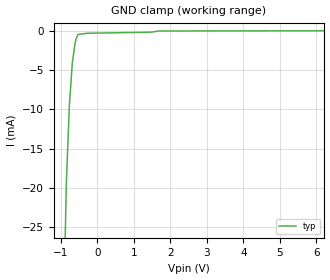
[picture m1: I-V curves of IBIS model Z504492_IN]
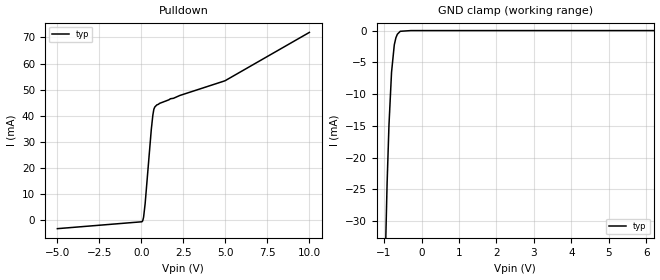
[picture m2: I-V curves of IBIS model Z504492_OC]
| YOU ARE ONLY AUTHORIZED TO USE THIS SOFTWARE
| ACCORDING TO LICENSOR'S LICENSE RESTRICTIONS.
[IBIS Ver] 3.1
[File Name] sn74ls05d.ibs
[File Rev] 2.0
[Source] Measured and created by ICX Technology
[Date] Friday 7/14/00 9:08:16 AM
[Copyright]
| (C) COPYRIGHT 1993-2000
| MENTOR GRAPHICS CORPORATION
| ICX STANDARD LIBRARY, ICX PROJECT MODELING,
| ICX CUSTOM MODELING, ICX VENDOR MODEL
| ALL RIGHTS RESERVED.
| THE FOLLOWING ARE TRADEMARKS OR SERVICE MARKS OF
| MENTOR GRAPHICS CORPORATION:ICX (R), ICX STANDARD
| LIBRARY(R), ICX PROJECT MODELING(R), ICX CUSTOM
| MODELING(R), qualityIBIS(TM), MODELVIEWER(TM),
| AND MODELEDITOR(TM)
| ALL COPIES OF SOFTWARE, INCLUDING BUT NOT LIMITED TO
| ANY MODIFICATIONS, ENHANCEMENTS OR DERIVATIVE WORKS,
| MUST CONTAIN ALL MENTOR GRAPHICS CORPORATION'S
| NOTICES AND LEGENDS, INCLUDING THOSE EMBEDDED IN
| SOFTWARE AND THOSE AFFIXED TO SOFTWARE MEDIUM
| AND CONTAINER, AS RECEIVED FROM MENTOR GRAPHICS
| CORPORATION.
|  ZAP Model Builder 2.7
[Component] SN74LS05D
[Manufacturer] OnSemiconductor
[Package]
| variable   typ   min   max
R_pkg  .155ohms NA NA
L_pkg  3.028nH NA NA
C_pkg  .381pF NA NA
[Pin] signal_name  model_name  R_pin  L_pin C_pin
1 A Z504492_IN .16 3.587n .407p
2 Y Z504492_OC .156 3.147n .387p
3 A Z504492_IN .152 2.717n .367p
4 Y Z504492_OC .148 2.297n .347p
5 A Z504492_IN .152 2.717n .367p
6 Y Z504492_OC .156 3.147n .387p
7 GROUND GND .16 3.587n .407p
8 Y Z504492_OC .16 3.587n .407p
9 A Z504492_IN .156 3.147n .387p
10 Y Z504492_OC .152 2.717n .367p
11 A Z504492_IN .148 2.297n .347p
12 Y Z504492_OC .152 2.717n .367p
13 A Z504492_IN .156 3.147n .387p
14 VCC POWER .16 3.587n .407p
| Models and submodels in the file (2): Z504492_IN (Input), Z504492_OC (Open_sink)
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| (C) COPYRIGHT 1993-2000
| MENTOR GRAPHICS CORPORATION
| ICX STANDARD LIBRARY, ICX PROJECT MODELING,
| ICX CUSTOM MODELING, ICX VENDOR MODEL
| ALL RIGHTS RESERVED.
| THE FOLLOWING ARE TRADEMARKS OR SERVICE MARKS OF
| MENTOR GRAPHICS CORPORATION:ICX (R), ICX STANDARD
| LIBRARY(R), ICX PROJECT MODELING(R), ICX CUSTOM
| MODELING(R), qualityIBIS(TM), MODELVIEWER(TM),
| AND MODELEDITOR(TM)
| ALL COPIES OF SOFTWARE, INCLUDING BUT NOT LIMITED TO
| ANY MODIFICATIONS, ENHANCEMENTS OR DERIVATIVE WORKS,
| MUST CONTAIN ALL MENTOR GRAPHICS CORPORATION'S
| NOTICES AND LEGENDS, INCLUDING THOSE EMBEDDED IN
| SOFTWARE AND THOSE AFFIXED TO SOFTWARE MEDIUM
| AND CONTAINER, AS RECEIVED FROM MENTOR GRAPHICS
| CORPORATION.
| Model Application Version 1.89 2/18/99.
[Model] Z504492_IN
Model_type Input
Vinl = 800.0mV
Vinh = 2.000V
C_comp 4.000pF NA NA
| variable typ   min   max
[Voltage Range] 5.000V NA NA
[GND Clamp Reference] 0.000V NA NA
[POWER Clamp Reference] 5.000V NA NA
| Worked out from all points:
|   GND clamp passes 1 mA (typ) near -0.58 V on its own axis
[GND Clamp]
-5V       -933.6mA   NA         NA
-849.5mV  -19.56mA   NA         NA
-767.9mV  -9.637mA   NA         NA
-687.1mV  -4.159mA   NA         NA
-610.4mV  -1.575mA   NA         NA
-579.3mV  -951.7uA   NA         NA
-526.8mV  -446.5uA   NA         NA
-263.4mV  -299.7uA   NA         NA
1.467V    -164.2uA   NA         NA
1.685V    -12.2uA    NA         NA
10V       42.61uA    NA         NA
[POWER Clamp]
-5V       0A         NA         NA
10V       0A         NA         NA
| (C) COPYRIGHT 1993-2000
| MENTOR GRAPHICS CORPORATION
| ICX STANDARD LIBRARY, ICX PROJECT MODELING,
| ICX CUSTOM MODELING, ICX VENDOR MODEL
| ALL RIGHTS RESERVED.
| THE FOLLOWING ARE TRADEMARKS OR SERVICE MARKS OF
| MENTOR GRAPHICS CORPORATION:ICX (R), ICX STANDARD
| LIBRARY(R), ICX PROJECT MODELING(R), ICX CUSTOM
| MODELING(R), qualityIBIS(TM), MODELVIEWER(TM),
| AND MODELEDITOR(TM)
| ALL COPIES OF SOFTWARE, INCLUDING BUT NOT LIMITED TO
| ANY MODIFICATIONS, ENHANCEMENTS OR DERIVATIVE WORKS,
| MUST CONTAIN ALL MENTOR GRAPHICS CORPORATION'S
| NOTICES AND LEGENDS, INCLUDING THOSE EMBEDDED IN
| SOFTWARE AND THOSE AFFIXED TO SOFTWARE MEDIUM
| AND CONTAINER, AS RECEIVED FROM MENTOR GRAPHICS
| CORPORATION.
| Model Application Version 1.89 2/18/99.
[Model] Z504492_OC
Model_type Open_sink
Vref=5.000V
Rref=2.000kohms
Cref=15.00pF
Vmeas=1.300V
C_comp 8.000pF NA NA
| variable typ   min   max
[Voltage Range] 5.000V NA NA
[POWER Clamp Reference] 5.000V NA NA
[Pullup Reference] 5.000V NA NA
[Pulldown Reference] 0.000V NA NA
[GND Clamp Reference] 0.000V NA NA
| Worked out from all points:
|   slope of the pulldown table from 0 to 0.75 V, typ, clamps not added: 17.4 ohm
|   GND clamp passes 1 mA (typ) near -0.67 V on its own axis
[GND Clamp]
-5V       -1.712A    NA         NA
-1.132V   -86.21mA   NA         NA
-1.012V   -47.3mA    NA         NA
-919.2mV  -24.21mA   NA         NA
-868.8mV  -14.9mA    NA         NA
-799.8mV  -6.553mA   NA         NA
-726.4mV  -2.24mA    NA         NA
-683.5mV  -1.125mA   NA         NA
-644.5mV  -575.2uA   NA         NA
-566.7mV  -111uA     NA         NA
-283.3mV  0A         NA         NA
10V       0A         NA         NA
[Pulldown]
-5V       -3.217mA   NA         NA
29.37mV   -579.5uA   NA         NA
131.6mV   1.146mA    NA         NA
224.2mV   6.358mA    NA         NA
590.9mV   34.79mA    NA         NA
683.2mV   40.25mA    NA         NA
742.2mV   42.5mA     NA         NA
800.7mV   43.38mA    NA         NA
1.076V    44.74mA    NA         NA
1.733V    46.53mA    NA         NA
4.975V    53.4mA     NA         NA
10V       71.93mA    NA         NA
[POWER Clamp]
-5V       0A         NA         NA
10V       0A         NA         NA
[Ramp]
| variable typ min max
dV/dt_r 2.772/14.32n NA NA
dV/dt_f 2.772/4.805n NA NA
R_load = 250.0Ohms
